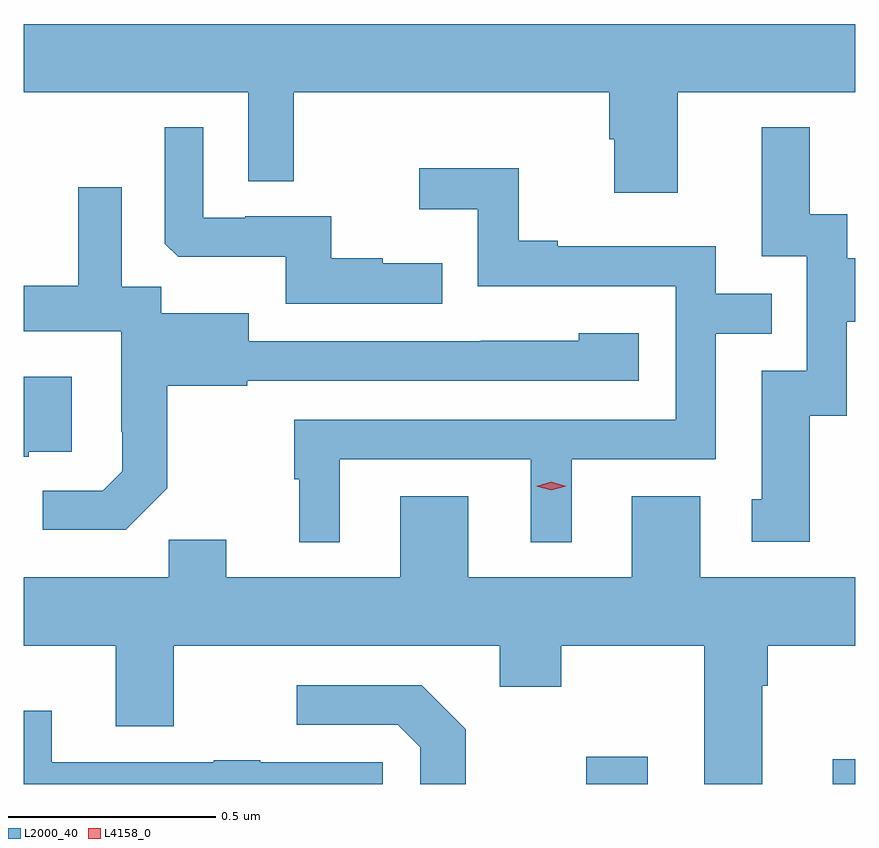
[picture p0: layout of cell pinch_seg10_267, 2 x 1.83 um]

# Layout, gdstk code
import gdstk
lib = gdstk.Library(unit=1e-6, precision=1e-09)
def R(c, l, rs):  # rectangles x0, y0, x1, y1
    for r in rs: c.add(gdstk.rectangle(r[:2], r[2:], *l))
def P(c, l, *ps):  # polygons
    for p in ps: c.add(gdstk.Polygon(p, *l))
L2000_40 = (2000, 40)
L4158_0 = (4158, 0)

pinch_seg10_267 = lib.new_cell('pinch_seg10_267')
R(pinch_seg10_267, L2000_40, [(577.023,1318.631,577.171,1318.696), (577.616,1318.631,577.67,1318.69)])
P(pinch_seg10_267, L2000_40, [(577.243,1320.296),(577.67,1320.296),(577.67,1320.46),(575.67,1320.46),(575.67,1320.296),(576.21,1320.296),(576.21,1320.082),(576.319,1320.082),(576.319,1320.296),(577.079,1320.296),(577.079,1320.183),(577.091,1320.183),(577.091,1320.054),(577.243,1320.054)],
  [(576.677,1319.884),(576.533,1319.884),(576.533,1319.896),(576.41,1319.896),(576.41,1319.997),(576.202,1319.997),(576.202,1319.994),(576.102,1319.994),(576.102,1320.211),(576.009,1320.211),(576.009,1319.931),(576.041,1319.9),(576.3,1319.9),(576.3,1319.787),(576.677,1319.787)],
  [(577.561,1319.517),(577.65,1319.517),(577.65,1319.744),(577.67,1319.744),(577.67,1319.896),(577.651,1319.896),(577.651,1320.002),(577.561,1320.002),(577.561,1320.211),(577.445,1320.211),(577.445,1319.901),(577.554,1319.901),(577.554,1319.625),(577.445,1319.625),(577.445,1319.316),(577.421,1319.316),(577.421,1319.214),(577.561,1319.214)],
  [(576.43,1319.412),(576.89,1319.412),(576.89,1319.213),(576.988,1319.213),(576.988,1319.412),(577.335,1319.412),(577.335,1319.715),(577.469,1319.715),(577.469,1319.811),(577.335,1319.811),(577.335,1319.925),(576.955,1319.925),(576.955,1319.938),(576.861,1319.938),(576.861,1320.113),(576.621,1320.113),(576.621,1320.014),(576.762,1320.014),(576.762,1319.829),(577.239,1319.829),(577.239,1319.508),(576.321,1319.508),(576.321,1319.364),(576.332,1319.364),(576.332,1319.213),(576.43,1319.213)],
  [(576.015,1319.343),(576.015,1319.589),(576.207,1319.589),(576.207,1319.601),(577.15,1319.601),(577.15,1319.716),(577.005,1319.716),(577.005,1319.698),(576.769,1319.698),(576.769,1319.697),(576.211,1319.697),(576.211,1319.764),(576,1319.764),(576,1319.828),(575.905,1319.828),(575.905,1320.067),(575.801,1320.067),(575.801,1319.83),(575.67,1319.83),(575.67,1319.72),(575.904,1319.72),(575.904,1319.479),(575.906,1319.479),(575.906,1319.384),(575.859,1319.337),(575.715,1319.337),(575.715,1319.243),(575.915,1319.243)],
  [(575.681,1319.43),(575.785,1319.43),(575.785,1319.611),(575.67,1319.611),(575.67,1319.418),(575.681,1319.418)],
  [(577.447,1318.868),(577.46,1318.868),(577.46,1318.964),(577.67,1318.964),(577.67,1319.128),(577.297,1319.128),(577.297,1319.323),(577.133,1319.323),(577.133,1319.128),(576.739,1319.128),(576.739,1319.323),(576.575,1319.323),(576.575,1319.128),(576.157,1319.128),(576.157,1319.219),(576.019,1319.219),(576.019,1319.128),(575.67,1319.128),(575.67,1318.964),(575.891,1318.964),(575.891,1318.77),(576.031,1318.77),(576.031,1318.964),(576.815,1318.964),(576.815,1318.865),(576.963,1318.865),(576.963,1318.964),(577.307,1318.964),(577.307,1318.631),(577.447,1318.631)],
  [(576.733,1318.763),(576.627,1318.869),(576.327,1318.869),(576.327,1318.773),(576.57,1318.773),(576.624,1318.719),(576.624,1318.631),(576.733,1318.631)],
  [(576.534,1318.683),(576.239,1318.683),(576.239,1318.688),(576.127,1318.688),(576.127,1318.683),(575.737,1318.683),(575.737,1318.807),(575.67,1318.807),(575.67,1318.631),(576.534,1318.631)])
P(pinch_seg10_267, L4158_0, [(576.939,1319.338),(576.903,1319.348),(576.903,1319.348),(576.903,1319.348),(576.939,1319.358),(576.975,1319.348),(576.975,1319.348),(576.975,1319.348)])

lib.write_gds('pinch_seg10_267.gds')
